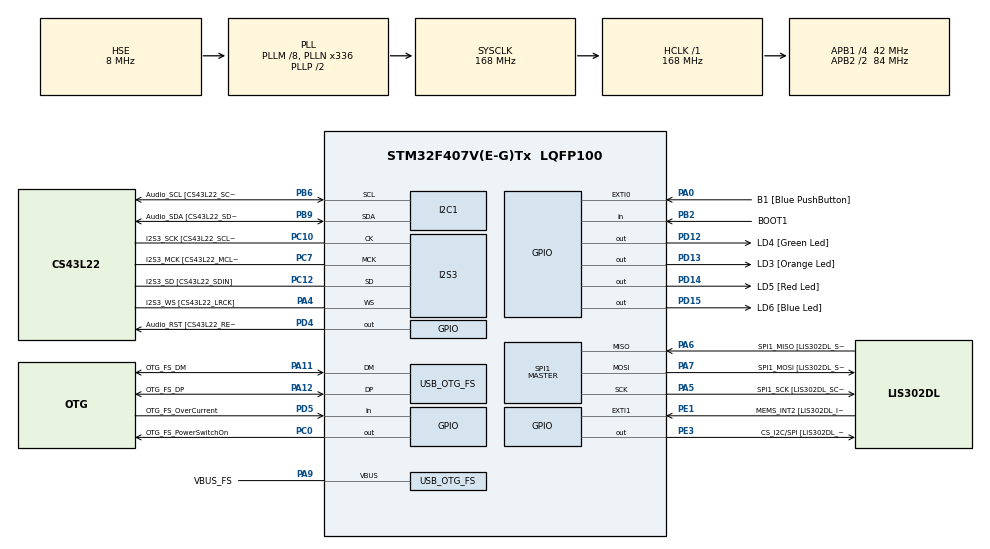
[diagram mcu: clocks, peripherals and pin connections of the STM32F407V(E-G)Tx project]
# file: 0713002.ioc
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I2S3.AudioFreq-Half_Duplex_Master=I2S_AUDIOFREQ_96K
I2S3.ErrorAudioFreq=-2.34 %
I2S3.ErrorAudioFreq-Half_Duplex_Master=0.8 %
I2S3.FullDuplexMode=I2S_FULLDUPLEXMODE_DISABLE
I2S3.Instance=SPI$Index
I2S3.RealAudioFreq=93.75 KHz
I2S3.RealAudioFreq-Half_Duplex_Master=96.774 KHz
I2S3.VirtualMode=I2S_MODE_MASTER
Mcu.Family=STM32F4
Mcu.Name=STM32F407V(E-G)Tx
Mcu.Package=LQFP100
NVIC.OTG_FS_IRQn=true\:0\:0\:false\:false\:true\:true
NVIC.PriorityGroup=NVIC_PRIORITYGROUP_0
PA0-WKUP.GPIO_Label=B1 [Blue PushButton]
PA0-WKUP.GPIO_ModeDefaultEXTI=GPIO_MODE_EVT_RISING
PA0-WKUP.GPIO_PuPd=GPIO_NOPULL
PA0-WKUP.Signal=GPXTI0
PA10.GPIO_Label=OTG_FS_ID
PA10.GPIO_Mode=GPIO_MODE_AF_PP
PA10.GPIO_PuPd=GPIO_NOPULL
PA10.GPIO_Speed=GPIO_SPEED_FREQ_LOW
PA10.Signal=USB_OTG_FS_ID
PA11.GPIO_Label=OTG_FS_DM
PA11.GPIO_Mode=GPIO_MODE_AF_PP
PA11.GPIO_PuPd=GPIO_NOPULL
PA11.GPIO_Speed=GPIO_SPEED_FREQ_LOW
PA11.Mode=Host_Only
PA11.Signal=USB_OTG_FS_DM
PA12.GPIO_Label=OTG_FS_DP
PA12.GPIO_Mode=GPIO_MODE_AF_PP
PA12.GPIO_PuPd=GPIO_NOPULL
PA12.GPIO_Speed=GPIO_SPEED_FREQ_LOW
PA12.Mode=Host_Only
PA12.Signal=USB_OTG_FS_DP
PA13.GPIO_Label=SWDIO
PA13.Mode=Serial_Wire
PA13.Signal=SYS_JTMS-SWDIO
PA14.GPIO_Label=SWCLK
PA14.Mode=Serial_Wire
PA14.Signal=SYS_JTCK-SWCLK
PA4.GPIO_Label=I2S3_WS [CS43L22_LRCK]
PA4.GPIO_Mode=GPIO_MODE_AF_PP
PA4.GPIO_PuPd=GPIO_NOPULL
PA4.GPIO_Speed=GPIO_SPEED_FREQ_LOW
PA4.Mode=Half_Duplex_Master
PA4.Signal=I2S3_WS
PA5.GPIO_Label=SPI1_SCK [LIS302DL_SCL/SPC]
PA5.GPIO_Mode=GPIO_MODE_AF_PP
PA5.GPIO_PuPd=GPIO_NOPULL
PA5.GPIO_Speed=GPIO_SPEED_FREQ_LOW
PA5.Mode=Full_Duplex_Master
PA5.Signal=SPI1_SCK
PA6.GPIO_Label=SPI1_MISO [LIS302DL_SDO]
PA6.GPIO_Mode=GPIO_MODE_AF_PP
PA6.GPIO_PuPd=GPIO_NOPULL
PA6.GPIO_Speed=GPIO_SPEED_FREQ_LOW
PA6.Mode=Full_Duplex_Master
PA6.Signal=SPI1_MISO
PA7.GPIO_Label=SPI1_MOSI [LIS302DL_SDA/SDI/SDO]
PA7.GPIO_Mode=GPIO_MODE_AF_PP
PA7.GPIO_PuPd=GPIO_NOPULL
PA7.GPIO_Speed=GPIO_SPEED_FREQ_LOW
PA7.Mode=Full_Duplex_Master
PA7.Signal=SPI1_MOSI
PA9.GPIO_Label=VBUS_FS
PA9.GPIO_Mode=GPIO_MODE_INPUT
PA9.GPIO_PuPd=GPIO_NOPULL
PA9.Mode=Activate_VBUS
PA9.Signal=USB_OTG_FS_VBUS
PB10.GPIO_Label=CLK_IN [MP45DT02_CLK]
PB10.GPIO_Mode=GPIO_MODE_AF_PP
PB10.GPIO_PuPd=GPIO_NOPULL
PB10.GPIO_Speed=GPIO_SPEED_FREQ_LOW
PB10.Signal=I2S2_CK
PB2.GPIO_Label=BOOT1
PB2.GPIO_Mode=GPIO_MODE_INPUT
PB2.GPIO_PuPd=GPIO_NOPULL
PB2.Signal=GPIO_Input
PB3.GPIO_Label=SWO
PB3.Signal=SYS_JTDO-SWO
PB6.GPIO_Label=Audio_SCL [CS43L22_SCL]
PB6.GPIO_Mode=GPIO_MODE_AF_OD
PB6.GPIO_PuPd=GPIO_NOPULL
PB6.GPIO_Speed=GPIO_SPEED_FREQ_LOW
PB6.Mode=I2C
PB6.Signal=I2C1_SCL
PB9.GPIO_Label=Audio_SDA [CS43L22_SDA]
PB9.GPIO_Mode=GPIO_MODE_AF_OD
PB9.GPIO_PuPd=GPIO_NOPULL
PB9.GPIO_Speed=GPIO_SPEED_FREQ_LOW
PB9.Mode=I2C
PB9.Signal=I2C1_SDA
PC0.GPIO_Label=OTG_FS_PowerSwitchOn
PC0.GPIO_PuPd=GPIO_NOPULL
PC0.GPIO_Speed=GPIO_SPEED_FREQ_LOW
PC0.PinState=GPIO_PIN_SET
PC0.Signal=GPIO_Output
PC10.GPIO_Label=I2S3_SCK [CS43L22_SCLK]
PC10.GPIO_Mode=GPIO_MODE_AF_PP
PC10.GPIO_PuPd=GPIO_NOPULL
PC10.GPIO_Speed=GPIO_SPEED_FREQ_LOW
PC10.Mode=Half_Duplex_Master
PC10.Signal=I2S3_CK
PC12.GPIO_Label=I2S3_SD [CS43L22_SDIN]
PC12.GPIO_Mode=GPIO_MODE_AF_PP
PC12.GPIO_PuPd=GPIO_NOPULL
PC12.GPIO_Speed=GPIO_SPEED_FREQ_LOW
PC12.Mode=Half_Duplex_Master
PC12.Signal=I2S3_SD
PC14-OSC32_IN.GPIO_Label=PC14-OSC32_IN
PC14-OSC32_IN.Signal=RCC_OSC32_IN
PC15-OSC32_OUT.GPIO_Label=PC15-OSC32_OUT
PC15-OSC32_OUT.Signal=RCC_OSC32_OUT
PC3.GPIO_Label=PDM_OUT [MP45DT02_DOUT]
PC3.GPIO_Mode=GPIO_MODE_AF_PP
PC3.GPIO_PuPd=GPIO_NOPULL
PC3.GPIO_Speed=GPIO_SPEED_FREQ_LOW
PC3.Signal=I2S2_SD
PC7.GPIO_Label=I2S3_MCK [CS43L22_MCLK]
PC7.GPIO_Mode=GPIO_MODE_AF_PP
PC7.GPIO_PuPd=GPIO_NOPULL
PC7.GPIO_Speed=GPIO_SPEED_FREQ_LOW
PC7.Mode=Master_Clock_Activated
PC7.Signal=I2S3_MCK
PD12.GPIO_Label=LD4 [Green Led]
PD12.GPIO_PuPd=GPIO_NOPULL
PD12.GPIO_Speed=GPIO_SPEED_FREQ_LOW
PD12.Signal=GPIO_Output
PD13.GPIO_Label=LD3 [Orange Led]
PD13.GPIO_PuPd=GPIO_NOPULL
PD13.GPIO_Speed=GPIO_SPEED_FREQ_LOW
PD13.Signal=GPIO_Output
PD14.GPIO_Label=LD5 [Red Led]
PD14.GPIO_PuPd=GPIO_NOPULL
PD14.GPIO_Speed=GPIO_SPEED_FREQ_LOW
PD14.Signal=GPIO_Output
PD15.GPIO_Label=LD6 [Blue Led]
PD15.GPIO_PuPd=GPIO_NOPULL
PD15.GPIO_Speed=GPIO_SPEED_FREQ_LOW
PD15.Signal=GPIO_Output
PD4.GPIO_Label=Audio_RST [CS43L22_RESET]
PD4.GPIO_PuPd=GPIO_NOPULL
PD4.GPIO_Speed=GPIO_SPEED_FREQ_LOW
PD4.Signal=GPIO_Output
PD5.GPIO_Label=OTG_FS_OverCurrent
PD5.GPIO_Mode=GPIO_MODE_INPUT
PD5.GPIO_PuPd=GPIO_NOPULL
PD5.Signal=GPIO_Input
PE1.GPIO_Label=MEMS_INT2 [LIS302DL_INT2]
PE1.GPIO_ModeDefaultEXTI=GPIO_MODE_EVT_RISING
PE1.GPIO_PuPd=GPIO_NOPULL
PE1.Signal=GPXTI1
PE3.GPIO_Label=CS_I2C/SPI [LIS302DL_CS_I2C/SPI]
PE3.GPIO_PuPd=GPIO_NOPULL
PE3.GPIO_Speed=GPIO_SPEED_FREQ_LOW
PE3.Signal=GPIO_Output
PH0-OSC_IN.GPIO_Label=PH0-OSC_IN
PH0-OSC_IN.Mode=HSE-External-Oscillator
PH0-OSC_IN.Signal=RCC_OSC_IN
PH1-OSC_OUT.GPIO_Label=PH1-OSC_OUT
PH1-OSC_OUT.Mode=HSE-External-Oscillator
PH1-OSC_OUT.Signal=RCC_OSC_OUT
ProjectManager.HeapSize=0x2000
ProjectManager.StackSize=0x4000
ProjectManager.TargetToolchain=TrueSTUDIO
RCC.48MHZClocksFreq_Value=48000000
RCC.AHBFreq_Value=168000000
RCC.APB1CLKDivider=RCC_HCLK_DIV4
RCC.APB1Freq_Value=42000000
RCC.APB1TimFreq_Value=84000000
RCC.APB2CLKDivider=RCC_HCLK_DIV2
RCC.APB2Freq_Value=84000000
RCC.APB2TimFreq_Value=168000000
RCC.CortexFreq_Value=168000000
RCC.HCLKFreq_Value=168000000
RCC.HSE_VALUE=8000000
RCC.HSI_VALUE=16000000
RCC.PLLM=8
RCC.PLLN=336
RCC.PLLQ=7
RCC.SYSCLKFreq_VALUE=168000000
RCC.SYSCLKSource=RCC_SYSCLKSOURCE_PLLCLK
RCC.VCOOutputFreq_Value=336000000
SPI1.BaudRatePrescaler-Full_Duplex_Master=SPI_BAUDRATEPRESCALER_2
SPI1.CalculateBaudRate-Full_Duplex_Master=42.0 MBits/s
SPI1.Direction=SPI_DIRECTION_2LINES
SPI1.Mode=SPI_MODE_MASTER
SPI1.Mode-Full_Duplex_Master=SPI_MODE_MASTER
SPI1.VirtualType=VM_MASTER
USB_HOST.BSP.number=1
USB_HOST.USBH_HandleTypeDef-MSC_FS=hUsbHostFS
USB_HOST.VirtualModeFS=Msc
USB_HOST0.BSP.STBoard=true
USB_HOST0.BSP.api=Unknown
USB_HOST0.BSP.i2caddr=0
USB_HOST0.BSP.instance=PC0
USB_HOST0.BSP.ip=GPIO
USB_HOST0.BSP.mode=Output
USB_HOST0.BSP.name=Drive_VBUS_FS
USB_HOST0.BSP.solution=PC0
USB_OTG_FS.VirtualMode=Host_Only
USB_OTG_FS.phy_itface=HCD_PHY_EMBEDDED
VP_FATFS_VS_USB.Mode=USB
VP_USB_HOST_VS_USB_HOST_MSC_FS.Mode=MSC_FS
board=STM32F4DISCOVERY

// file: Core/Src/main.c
/**
  ******************************************************************************
  * @file           : main.c
  * @brief          : Main program body
  ******************************************************************************
  * This notice applies to any and all portions of this file
  * that are not between comment pairs USER CODE BEGIN and
  * USER CODE END. Other portions of this file, whether
  * inserted by the user or by software development tools
  * are owned by their respective copyright owners.
  *
  * Copyright (c) 2018 STMicroelectronics International N.V.
  * All rights reserved.
  *
  * Redistribution and use in source and binary forms, with or without
  * modification, are permitted, provided that the following conditions are met:
  *
  * 1. Redistribution of source code must retain the above copyright notice,
  *    this list of conditions and the following disclaimer.
  * 2. Redistributions in binary form must reproduce the above copyright notice,
  *    this list of conditions and the following disclaimer in the documentation
  *    and/or other materials provided with the distribution.
  * 3. Neither the name of STMicroelectronics nor the names of other
  *    contributors to this software may be used to endorse or promote products
  *    derived from this software without specific written permission.
  * 4. This software, including modifications and/or derivative works of this
  *    software, must execute solely and exclusively on microcontroller or
  *    microprocessor devices manufactured by or for STMicroelectronics.
  * 5. Redistribution and use of this software other than as permitted under
  *    this license is void and will automatically terminate your rights under
  *    this license.
  *
  * THIS SOFTWARE IS PROVIDED BY STMICROELECTRONICS AND CONTRIBUTORS "AS IS"
  * AND ANY EXPRESS, IMPLIED OR STATUTORY WARRANTIES, INCLUDING, BUT NOT
  * LIMITED TO, THE IMPLIED WARRANTIES OF MERCHANTABILITY, FITNESS FOR A
  * PARTICULAR PURPOSE AND NON-INFRINGEMENT OF THIRD PARTY INTELLECTUAL PROPERTY
  * RIGHTS ARE DISCLAIMED TO THE FULLEST EXTENT PERMITTED BY LAW. IN NO EVENT
  * SHALL STMICROELECTRONICS OR CONTRIBUTORS BE LIABLE FOR ANY DIRECT, INDIRECT,
  * INCIDENTAL, SPECIAL, EXEMPLARY, OR CONSEQUENTIAL DAMAGES (INCLUDING, BUT NOT
  * LIMITED TO, PROCUREMENT OF SUBSTITUTE GOODS OR SERVICES; LOSS OF USE, DATA,
  * OR PROFITS; OR BUSINESS INTERRUPTION) HOWEVER CAUSED AND ON ANY THEORY OF
  * LIABILITY, WHETHER IN CONTRACT, STRICT LIABILITY, OR TORT (INCLUDING
  * NEGLIGENCE OR OTHERWISE) ARISING IN ANY WAY OUT OF THE USE OF THIS SOFTWARE,
  * EVEN IF ADVISED OF THE POSSIBILITY OF SUCH DAMAGE.
  *
  ******************************************************************************
  */
#include "main.h"
#include "stm32f4xx_hal.h"
#include "fatfs.h"
#include "i2c.h"
#include "i2s.h"
#include "spi.h"
#include "usb_host.h"
#include "gpio.h"

/* USER CODE BEGIN PV */
/* Private variables ---------------------------------------------------------*/

/* USER CODE END PV */

void SystemClock_Config(void);
void MX_USB_HOST_Process(void);

/* USER CODE BEGIN PFP */
/* Private function prototypes -----------------------------------------------*/

/* USER CODE END PFP */

/* USER CODE BEGIN 0 */
FATFS myFatFS;
FIL myFile;
UINT myBytes;
/* USER CODE END 0 */

int main(void)
{

  /* MCU Configuration----------------------------------------------------------*/

  /* Reset of all peripherals, Initializes the Flash interface and the Systick. */
  HAL_Init();

  /* Configure the system clock */
  SystemClock_Config();

  /* Initialize all configured peripherals */
  MX_GPIO_Init();
  MX_I2C1_Init();
  MX_I2S3_Init();
  MX_SPI1_Init();
  MX_USB_HOST_Init();
  MX_FATFS_Init();
  /* USER CODE BEGIN 2 */
  char myData[] = "This file number is #001 !!!";
  char myFileName[] = "0717001.txt";

/********************************************************************
 *      USB 초기 mount시 f_open 동작에러 개선을 위한 초기화 함수
 ********************************************************************/
void USB_UserInit()        // f_open 함수의 retry 문제로 Init 코드 강제로 생성
{

  while (1)
  {
      MX_USB_HOST_Process();

      if(f_mount(&myFatFS, USBHPath, 0) == FR_OK)
      {
	    if (f_open(&myFile, "temp.txt", FA_WRITE | FA_CREATE_ALWAYS) == FR_OK)
	    {
		HAL_GPIO_WritePin(GPIOD, GPIO_PIN_12, GPIO_PIN_SET);
		break;
	    }
      }
  }
  f_close(&myFile);           // unlink전에 f_close 함수를 실행해야 함
  f_unlink("temp.txt");       // 초기화 함수 내에서 임의로 생성한 temp.txt 파일삭제
}
/*********************************************************************/

USB_UserInit();          // 위에서 생성한 USB 초기화 코드 실행

/********************************************************************
 * USB 초기화 코드 실행후에는 아래의 USB 파일생성 및 기록함수를 while문 내부에 위치시킬 필요없음
 ********************************************************************/
if (f_open(&myFile, myFileName, FA_WRITE | FA_CREATE_ALWAYS) == FR_OK)
{
    if(f_write(&myFile, myData, sizeof(myData), &myBytes) == FR_OK)
    {
	  f_close(&myFile);
	  HAL_GPIO_WritePin(GPIOD, GPIO_PIN_15, GPIO_PIN_SET);
    }
}
/********************************************************************/
  /* USER CODE END 2 */

  /* Infinite loop */
  while (1)
  {
    MX_USB_HOST_Process();
  }

}

void SystemClock_Config(void)
{

  RCC_OscInitTypeDef RCC_OscInitStruct;
  RCC_ClkInitTypeDef RCC_ClkInitStruct;
  RCC_PeriphCLKInitTypeDef PeriphClkInitStruct;

    /**Configure the main internal regulator output voltage
    */
  __HAL_RCC_PWR_CLK_ENABLE();

  __HAL_PWR_VOLTAGESCALING_CONFIG(PWR_REGULATOR_VOLTAGE_SCALE1);

    /**Initializes the CPU, AHB and APB busses clocks
    */
  RCC_OscInitStruct.OscillatorType = RCC_OSCILLATORTYPE_HSE;
  RCC_OscInitStruct.HSEState = RCC_HSE_ON;
  RCC_OscInitStruct.PLL.PLLState = RCC_PLL_ON;
  RCC_OscInitStruct.PLL.PLLSource = RCC_PLLSOURCE_HSE;
  RCC_OscInitStruct.PLL.PLLM = 8;
  RCC_OscInitStruct.PLL.PLLN = 336;
  RCC_OscInitStruct.PLL.PLLP = RCC_PLLP_DIV2;
  RCC_OscInitStruct.PLL.PLLQ = 7;
  if (HAL_RCC_OscConfig(&RCC_OscInitStruct) != HAL_OK)
  {
    _Error_Handler(__FILE__, __LINE__);
  }

    /**Initializes the CPU, AHB and APB busses clocks
    */
  RCC_ClkInitStruct.ClockType = RCC_CLOCKTYPE_HCLK|RCC_CLOCKTYPE_SYSCLK
                              |RCC_CLOCKTYPE_PCLK1|RCC_CLOCKTYPE_PCLK2;
  RCC_ClkInitStruct.SYSCLKSource = RCC_SYSCLKSOURCE_PLLCLK;
  RCC_ClkInitStruct.AHBCLKDivider = RCC_SYSCLK_DIV1;
  RCC_ClkInitStruct.APB1CLKDivider = RCC_HCLK_DIV4;
  RCC_ClkInitStruct.APB2CLKDivider = RCC_HCLK_DIV2;

  if (HAL_RCC_ClockConfig(&RCC_ClkInitStruct, FLASH_LATENCY_5) != HAL_OK)
  {
    _Error_Handler(__FILE__, __LINE__);
  }

  PeriphClkInitStruct.PeriphClockSelection = RCC_PERIPHCLK_I2S;
  PeriphClkInitStruct.PLLI2S.PLLI2SN = 192;
  PeriphClkInitStruct.PLLI2S.PLLI2SR = 2;
  if (HAL_RCCEx_PeriphCLKConfig(&PeriphClkInitStruct) != HAL_OK)
  {
    _Error_Handler(__FILE__, __LINE__);
  }

    /**Configure the Systick interrupt time
    */
  HAL_SYSTICK_Config(HAL_RCC_GetHCLKFreq()/1000);

    /**Configure the Systick
    */
  HAL_SYSTICK_CLKSourceConfig(SYSTICK_CLKSOURCE_HCLK);

  /* SysTick_IRQn interrupt configuration */
  HAL_NVIC_SetPriority(SysTick_IRQn, 0, 0);
}

void _Error_Handler(char *file, int line)
{
  while(1)
  {
  }
}

/************************ (C) COPYRIGHT STMicroelectronics *****END OF FILE****/
